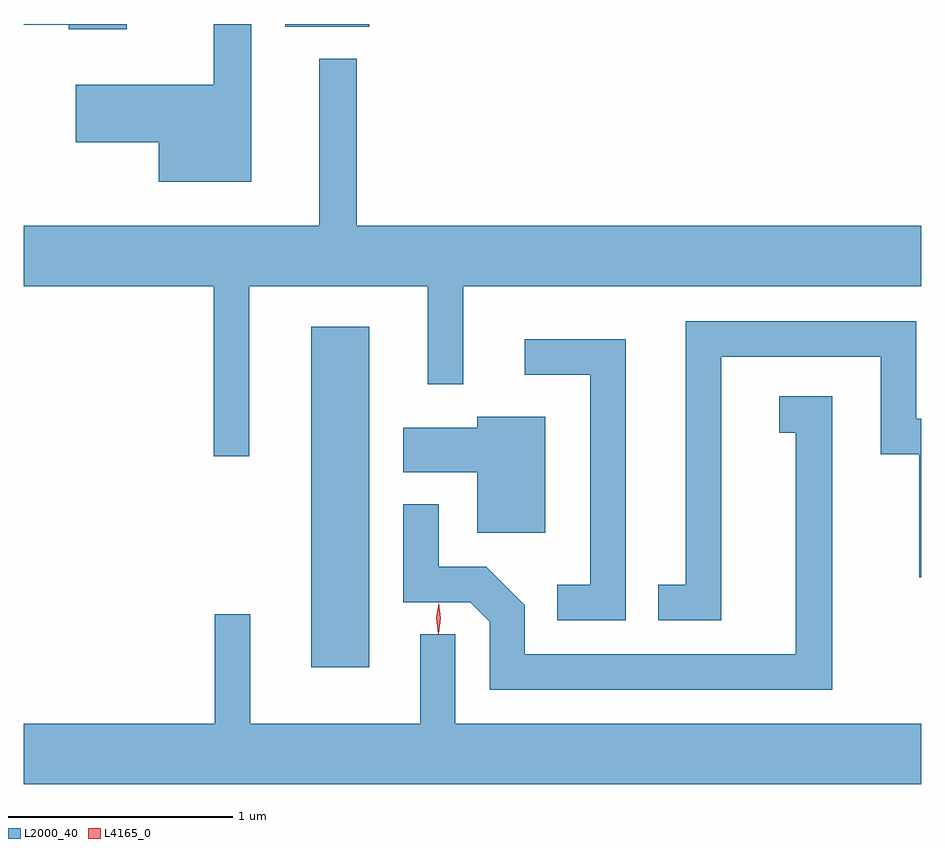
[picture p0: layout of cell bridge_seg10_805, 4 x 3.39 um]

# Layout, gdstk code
import gdstk
lib = gdstk.Library(unit=1e-6, precision=1e-09)
def R(c, l, rs):  # rectangles x0, y0, x1, y1
    for r in rs: c.add(gdstk.rectangle(r[:2], r[2:], *l))
def P(c, l, *ps):  # polygons
    for p in ps: c.add(gdstk.Polygon(p, *l))
L2000_40 = (2000, 40)
L4165_0 = (4165, 0)

bridge_seg10_805 = lib.new_cell('bridge_seg10_805')
R(bridge_seg10_805, L2000_40, [(381.736,2103.336,381.994,2104.854), (381.621,2106.191,381.994,2106.204)])
P(bridge_seg10_805, L2000_40, [(380.914,2106.204),(380.455,2106.204),(380.455,2106.201),(380.656,2106.201),(380.656,2106.181),(380.914,2106.181)],
  [(381.469,2106.204),(381.301,2106.204),(381.301,2105.934),(380.686,2105.934),(380.686,2105.676),(381.056,2105.676),(381.056,2105.501),(381.469,2105.501)],
  [(381.459,2105.036),(382.256,2105.036),(382.256,2104.598),(382.414,2104.598),(382.414,2105.036),(384.455,2105.036),(384.455,2105.304),(381.939,2105.304),(381.939,2106.048),(381.771,2106.048),(381.771,2105.304),(380.455,2105.304),(380.455,2105.036),(381.301,2105.036),(381.301,2104.278),(381.459,2104.278)],
  [(383.564,2104.721),(384.276,2104.721),(384.276,2104.286),(384.446,2104.286),(384.446,2103.738),(384.455,2103.738),(384.455,2104.444),(384.434,2104.444),(384.434,2104.879),(383.406,2104.879),(383.406,2103.704),(383.283,2103.704),(383.283,2103.546),(383.564,2103.546)],
  [(383.139,2104.799),(382.688,2104.799),(382.688,2104.641),(382.981,2104.641),(382.981,2103.704),(382.833,2103.704),(382.833,2103.546),(383.139,2103.546)],
  [(384.059,2104.544),(383.823,2104.544),(383.823,2104.381),(383.896,2104.381),(383.896,2103.394),(382.689,2103.394),(382.689,2103.612),(382.517,2103.784),(382.304,2103.784),(382.304,2104.063),(382.146,2104.063),(382.146,2103.626),(382.444,2103.626),(382.531,2103.539),(382.531,2103.236),(384.059,2103.236)],
  [(382.779,2104.454),(382.476,2104.454),(382.476,2104.404),(382.146,2104.404),(382.146,2104.206),(382.476,2104.206),(382.476,2103.936),(382.779,2103.936)],
  [(384.455,2103.084),(382.379,2103.084),(382.379,2103.483),(382.221,2103.483),(382.221,2103.084),(381.464,2103.084),(381.464,2103.573),(381.306,2103.573),(381.306,2103.084),(380.455,2103.084),(380.455,2102.816),(384.455,2102.816)])
P(bridge_seg10_805, L4165_0, [(382.303,2103.484),(382.303,2103.485),(382.294,2103.554),(382.304,2103.623),(382.305,2103.624),(382.305,2103.623),(382.314,2103.554),(382.304,2103.485)],
  [(382.303,2103.488),(382.303,2103.488),(382.294,2103.554),(382.304,2103.62),(382.304,2103.621),(382.305,2103.62),(382.314,2103.554),(382.304,2103.488)])

lib.write_gds('bridge_seg10_805.gds')
